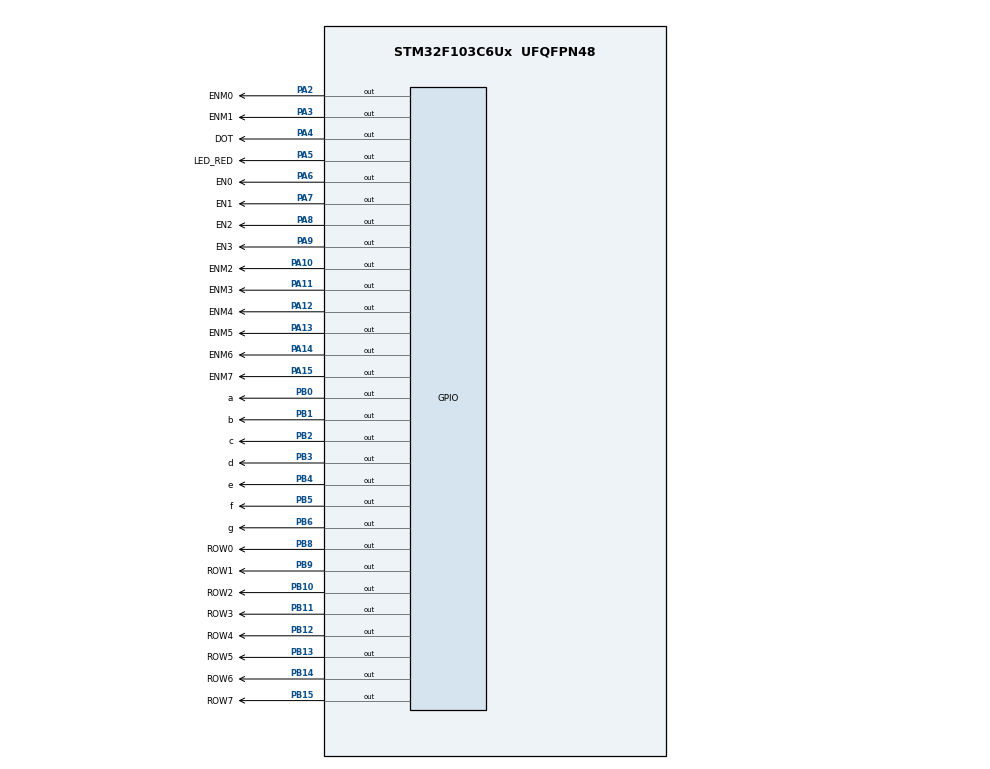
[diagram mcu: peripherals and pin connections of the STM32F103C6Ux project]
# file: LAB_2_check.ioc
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Mcu.Family=STM32F1
Mcu.Name=STM32F103C6Ux
Mcu.Package=UFQFPN48
NVIC.PriorityGroup=NVIC_PRIORITYGROUP_4
NVIC.TIM2_IRQn=true\:0\:0\:false\:false\:true\:true\:true
PA10.GPIO_Label=ENM2
PA10.Signal=GPIO_Output
PA11.GPIO_Label=ENM3
PA11.Signal=GPIO_Output
PA12.GPIO_Label=ENM4
PA12.Signal=GPIO_Output
PA13.GPIO_Label=ENM5
PA13.Signal=GPIO_Output
PA14.GPIO_Label=ENM6
PA14.Signal=GPIO_Output
PA15.GPIO_Label=ENM7
PA15.Signal=GPIO_Output
PA2.GPIO_Label=ENM0
PA2.Signal=GPIO_Output
PA3.GPIO_Label=ENM1
PA3.Signal=GPIO_Output
PA4.GPIO_Label=DOT
PA4.Signal=GPIO_Output
PA5.GPIO_Label=LED_RED
PA5.Signal=GPIO_Output
PA6.GPIO_Label=EN0
PA6.Signal=GPIO_Output
PA7.GPIO_Label=EN1
PA7.Signal=GPIO_Output
PA8.GPIO_Label=EN2
PA8.Signal=GPIO_Output
PA9.GPIO_Label=EN3
PA9.Signal=GPIO_Output
PB0.GPIO_Label=a
PB0.Signal=GPIO_Output
PB1.GPIO_Label=b
PB1.Signal=GPIO_Output
PB10.GPIO_Label=ROW2
PB10.Signal=GPIO_Output
PB11.GPIO_Label=ROW3
PB11.Signal=GPIO_Output
PB12.GPIO_Label=ROW4
PB12.Signal=GPIO_Output
PB13.GPIO_Label=ROW5
PB13.Signal=GPIO_Output
PB14.GPIO_Label=ROW6
PB14.Signal=GPIO_Output
PB15.GPIO_Label=ROW7
PB15.Signal=GPIO_Output
PB2.GPIO_Label=c
PB2.Signal=GPIO_Output
PB3.GPIO_Label=d
PB3.Signal=GPIO_Output
PB4.GPIO_Label=e
PB4.Signal=GPIO_Output
PB5.GPIO_Label=f
PB5.Signal=GPIO_Output
PB6.GPIO_Label=g
PB6.Signal=GPIO_Output
PB8.GPIO_Label=ROW0
PB8.Signal=GPIO_Output
PB9.GPIO_Label=ROW1
PB9.Signal=GPIO_Output
ProjectManager.HeapSize=0x200
ProjectManager.StackSize=0x400
ProjectManager.TargetToolchain=STM32CubeIDE
RCC.APB1Freq_Value=8000000
RCC.APB2Freq_Value=8000000
TIM2.Period=9
TIM2.Prescaler=7999
VP_SYS_VS_ND.Mode=No_Debug
VP_TIM2_VS_ClockSourceINT.Mode=Internal
board=custom

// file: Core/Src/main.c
/* USER CODE BEGIN Header */
/**
  ******************************************************************************
  * @file           : main.c
  * @brief          : Main program body
  ******************************************************************************
  * @attention
  *
  * <h2><center>&copy; Copyright (c) 2023 STMicroelectronics.
  * All rights reserved.</center></h2>
  *
  * This software component is licensed by ST under BSD 3-Clause license,
  * the "License"; You may not use this file except in compliance with the
  * License. You may obtain a copy of the License at:
  *                        opensource.org/licenses/BSD-3-Clause
  *
  ******************************************************************************
  */
/* USER CODE END Header */
#include "main.h"
#include "software_timer.h"

TIM_HandleTypeDef htim2;

void SystemClock_Config(void);
static void MX_GPIO_Init(void);
static void MX_TIM2_Init(void);

/* USER CODE BEGIN 0 */
void display7SEG(int num){

if(num == 0){

     	HAL_GPIO_WritePin(GPIOB, g_Pin, SET);
     	HAL_GPIO_WritePin(GPIOB,a_Pin | b_Pin| c_Pin |d_Pin | e_Pin | f_Pin,RESET);
}
else if (num == 1){
     	HAL_GPIO_WritePin(GPIOB, g_Pin| a_Pin |d_Pin|e_Pin|f_Pin , SET);
     	HAL_GPIO_WritePin(GPIOB,  b_Pin| c_Pin, RESET);
}
else if (num == 2){

     	HAL_GPIO_WritePin(GPIOB, c_Pin | f_Pin, SET);
     	HAL_GPIO_WritePin(GPIOB, a_Pin | b_Pin|d_Pin | e_Pin | g_Pin, RESET);
}
else if (num == 3){

     	HAL_GPIO_WritePin(GPIOB, e_Pin | f_Pin, SET);
     	HAL_GPIO_WritePin(GPIOB, a_Pin | b_Pin| c_Pin |d_Pin | g_Pin, RESET);
}
else if (num == 4){

     	HAL_GPIO_WritePin(GPIOB, a_Pin | d_Pin| e_Pin, SET);
     	HAL_GPIO_WritePin(GPIOB,  b_Pin| c_Pin | f_Pin|g_Pin, RESET);
}
else if (num == 5){

     	HAL_GPIO_WritePin(GPIOB, b_Pin | e_Pin, SET);
     	HAL_GPIO_WritePin(GPIOB, a_Pin |  c_Pin |d_Pin | f_Pin|g_Pin, RESET);
}
else if (num == 6){

     	HAL_GPIO_WritePin(GPIOB, b_Pin, SET);
     	HAL_GPIO_WritePin(GPIOB, a_Pin |  c_Pin |d_Pin | e_Pin | f_Pin|g_Pin, RESET);
}
else if (num == 7){
	HAL_GPIO_WritePin(GPIOB, g_Pin |d_Pin | e_Pin | f_Pin, SET);
	HAL_GPIO_WritePin(GPIOB, a_Pin | b_Pin| c_Pin , RESET);
}
else if (num == 8){
	HAL_GPIO_WritePin(GPIOB, a_Pin | b_Pin| c_Pin |d_Pin | e_Pin | f_Pin|g_Pin, RESET);
}
else {
     	HAL_GPIO_WritePin(GPIOB, e_Pin, SET);
     	HAL_GPIO_WritePin(GPIOB, a_Pin | b_Pin| c_Pin |d_Pin |  f_Pin|g_Pin, RESET);
}
}
const int MAX_LED = 4;
 int index_led = 0;
 int led_buffer [4] = {1 , 2 , 3 , 4};
void update7SEG (int index) {
 switch (index) {
 case 0:
 		  HAL_GPIO_WritePin(GPIOA, EN0_Pin, RESET);
 		  HAL_GPIO_WritePin(GPIOA, EN1_Pin, SET);
 		  HAL_GPIO_WritePin(GPIOA, EN2_Pin, SET);
 		  HAL_GPIO_WritePin(GPIOA, EN3_Pin, SET);
 		  display7SEG(led_buffer[0]);

 		  break;

 	  case 1:
 	  		  HAL_GPIO_WritePin(GPIOA, EN0_Pin, SET);
 	  		  HAL_GPIO_WritePin(GPIOA, EN1_Pin, RESET);
 			  HAL_GPIO_WritePin(GPIOA, EN2_Pin, SET);
 			  HAL_GPIO_WritePin(GPIOA, EN3_Pin, SET);
 	  		  display7SEG(led_buffer[1]);

 	  		  break;

 	  case 2:
 	  		  HAL_GPIO_WritePin(GPIOA, EN0_Pin, SET);
 	  		  HAL_GPIO_WritePin(GPIOA, EN1_Pin, SET);
 			  HAL_GPIO_WritePin(GPIOA, EN2_Pin, RESET);
 			  HAL_GPIO_WritePin(GPIOA, EN3_Pin, SET);
 	  		  display7SEG(led_buffer[2]);

 	  		  break;

 	  case 3:
 	  		  HAL_GPIO_WritePin(GPIOA, EN0_Pin, SET);
 	  		  HAL_GPIO_WritePin(GPIOA, EN1_Pin, SET);
 			  HAL_GPIO_WritePin(GPIOA, EN2_Pin, SET);
 			  HAL_GPIO_WritePin(GPIOA, EN3_Pin, RESET);
 	  		  display7SEG(led_buffer[3]);

 	  		  break;
 	  	  default:
 		  break;
 }
 }
int hour = 15 , minute = 8 , second = 50;
void updateClockBuffer(){
 	led_buffer[0] = hour/10;
 	led_buffer[1] = hour%10;
 	led_buffer[2] = minute/10;
 	led_buffer[3] = minute%10;
 }
const int MAX_LED_MATRIX = 8;
int index_led_matrix = 0;
uint8_t matrix_buffer[8]={0b0000000, 0b11111000, 0b00100100, 0b00100010, 0b00100010, 0b00100100, 0b11111000, 0b00000000};
void displayLEDMatrix(uint8_t value)
 {
 	if (value & (1U << 0))
 		HAL_GPIO_WritePin(ROW0_GPIO_Port, ROW0_Pin, RESET);
 	else
 		HAL_GPIO_WritePin(ROW0_GPIO_Port, ROW0_Pin, SET);

 	if (value & (1U << 1))
 		HAL_GPIO_WritePin(ROW1_GPIO_Port, ROW1_Pin, RESET);
 	else
 		HAL_GPIO_WritePin(ROW1_GPIO_Port, ROW1_Pin, SET);

 	if (value & (1U << 2))
 		HAL_GPIO_WritePin(ROW2_GPIO_Port, ROW2_Pin, RESET);
 	else
 		HAL_GPIO_WritePin(ROW2_GPIO_Port, ROW2_Pin,SET);

 	if (value & (1U << 3))
 		HAL_GPIO_WritePin(ROW3_GPIO_Port, ROW3_Pin, RESET);
 	else
 		HAL_GPIO_WritePin(ROW3_GPIO_Port, ROW3_Pin, SET);

 	if (value & (1U << 4))
 		HAL_GPIO_WritePin(ROW4_GPIO_Port, ROW4_Pin, RESET);
 	else
 		HAL_GPIO_WritePin(ROW4_GPIO_Port, ROW4_Pin, SET);

 	if (value & (1U << 5))
 		HAL_GPIO_WritePin(ROW5_GPIO_Port, ROW5_Pin, RESET);
 	else
 		HAL_GPIO_WritePin(ROW5_GPIO_Port, ROW5_Pin, SET);

 	if (value & (1U << 6))
 		HAL_GPIO_WritePin(ROW6_GPIO_Port, ROW6_Pin, RESET);
 	else
 		HAL_GPIO_WritePin(ROW6_GPIO_Port, ROW6_Pin, SET);

 	if (value & (1U << 7))
 		HAL_GPIO_WritePin(ROW7_GPIO_Port, ROW7_Pin, RESET);
 	else
 		HAL_GPIO_WritePin(ROW7_GPIO_Port, ROW7_Pin, SET);
 }

void updateLEDMatrix(int index)
{
	switch (index)
	{
		case 0:
			HAL_GPIO_WritePin(ENM7_GPIO_Port, ENM7_Pin, GPIO_PIN_SET);
			HAL_GPIO_WritePin(ENM6_GPIO_Port, ENM6_Pin, GPIO_PIN_SET);
			HAL_GPIO_WritePin(ENM5_GPIO_Port, ENM5_Pin, GPIO_PIN_SET);
			HAL_GPIO_WritePin(ENM4_GPIO_Port, ENM4_Pin, GPIO_PIN_SET);
			HAL_GPIO_WritePin(ENM3_GPIO_Port, ENM3_Pin, GPIO_PIN_SET);
			HAL_GPIO_WritePin(ENM2_GPIO_Port, ENM2_Pin, GPIO_PIN_SET);
			HAL_GPIO_WritePin(ENM1_GPIO_Port, ENM1_Pin, GPIO_PIN_SET);
			HAL_GPIO_WritePin(ENM0_GPIO_Port, ENM0_Pin, GPIO_PIN_RESET);
			displayLEDMatrix(matrix_buffer[index]);
			break;
		case 1:
			HAL_GPIO_WritePin(ENM0_GPIO_Port, ENM0_Pin, GPIO_PIN_SET);
			HAL_GPIO_WritePin(ENM7_GPIO_Port, ENM7_Pin, GPIO_PIN_SET);
			HAL_GPIO_WritePin(ENM6_GPIO_Port, ENM6_Pin, GPIO_PIN_SET);
			HAL_GPIO_WritePin(ENM5_GPIO_Port, ENM5_Pin, GPIO_PIN_SET);
			HAL_GPIO_WritePin(ENM4_GPIO_Port, ENM4_Pin, GPIO_PIN_SET);
			HAL_GPIO_WritePin(ENM3_GPIO_Port, ENM3_Pin, GPIO_PIN_SET);
			HAL_GPIO_WritePin(ENM2_GPIO_Port, ENM2_Pin, GPIO_PIN_SET);
			HAL_GPIO_WritePin(ENM1_GPIO_Port, ENM1_Pin, GPIO_PIN_RESET);
			displayLEDMatrix(matrix_buffer[index]);
			break;
		case 2:
			HAL_GPIO_WritePin(ENM1_GPIO_Port, ENM1_Pin, GPIO_PIN_SET);
			HAL_GPIO_WritePin(ENM0_GPIO_Port, ENM0_Pin, GPIO_PIN_SET);
			HAL_GPIO_WritePin(ENM7_GPIO_Port, ENM7_Pin, GPIO_PIN_SET);
			HAL_GPIO_WritePin(ENM6_GPIO_Port, ENM6_Pin, GPIO_PIN_SET);
			HAL_GPIO_WritePin(ENM5_GPIO_Port, ENM5_Pin, GPIO_PIN_SET);
			HAL_GPIO_WritePin(ENM4_GPIO_Port, ENM4_Pin, GPIO_PIN_SET);
			HAL_GPIO_WritePin(ENM3_GPIO_Port, ENM3_Pin, GPIO_PIN_SET);
			HAL_GPIO_WritePin(ENM2_GPIO_Port, ENM2_Pin, GPIO_PIN_RESET);
			displayLEDMatrix(matrix_buffer[index]);
			break;
		case 3:
			HAL_GPIO_WritePin(ENM2_GPIO_Port, ENM2_Pin, GPIO_PIN_SET);
			HAL_GPIO_WritePin(ENM1_GPIO_Port, ENM1_Pin, GPIO_PIN_SET);
			HAL_GPIO_WritePin(ENM0_GPIO_Port, ENM0_Pin, GPIO_PIN_SET);
			HAL_GPIO_WritePin(ENM7_GPIO_Port, ENM7_Pin, GPIO_PIN_SET);
			HAL_GPIO_WritePin(ENM6_GPIO_Port, ENM6_Pin, GPIO_PIN_SET);
			HAL_GPIO_WritePin(ENM5_GPIO_Port, ENM5_Pin, GPIO_PIN_SET);
			HAL_GPIO_WritePin(ENM4_GPIO_Port, ENM4_Pin, GPIO_PIN_SET);
			HAL_GPIO_WritePin(ENM3_GPIO_Port, ENM3_Pin, GPIO_PIN_RESET);
			displayLEDMatrix(matrix_buffer[index]);
			break;
		case 4:
			HAL_GPIO_WritePin(ENM3_GPIO_Port, ENM3_Pin, GPIO_PIN_SET);
			HAL_GPIO_WritePin(ENM2_GPIO_Port, ENM2_Pin, GPIO_PIN_SET);
			HAL_GPIO_WritePin(ENM1_GPIO_Port, ENM1_Pin, GPIO_PIN_SET);
			HAL_GPIO_WritePin(ENM0_GPIO_Port, ENM0_Pin, GPIO_PIN_SET);
			HAL_GPIO_WritePin(ENM7_GPIO_Port, ENM7_Pin, GPIO_PIN_SET);
			HAL_GPIO_WritePin(ENM6_GPIO_Port, ENM6_Pin, GPIO_PIN_SET);
			HAL_GPIO_WritePin(ENM5_GPIO_Port, ENM5_Pin, GPIO_PIN_SET);
			HAL_GPIO_WritePin(ENM4_GPIO_Port, ENM4_Pin, GPIO_PIN_RESET);
			displayLEDMatrix(matrix_buffer[index]);
			break;
		case 5:
			HAL_GPIO_WritePin(ENM4_GPIO_Port, ENM4_Pin, GPIO_PIN_SET);
			HAL_GPIO_WritePin(ENM3_GPIO_Port, ENM3_Pin, GPIO_PIN_SET);
			HAL_GPIO_WritePin(ENM2_GPIO_Port, ENM2_Pin, GPIO_PIN_SET);
			HAL_GPIO_WritePin(ENM1_GPIO_Port, ENM1_Pin, GPIO_PIN_SET);
			HAL_GPIO_WritePin(ENM0_GPIO_Port, ENM0_Pin, GPIO_PIN_SET);
			HAL_GPIO_WritePin(ENM7_GPIO_Port, ENM7_Pin, GPIO_PIN_SET);
			HAL_GPIO_WritePin(ENM6_GPIO_Port, ENM6_Pin, GPIO_PIN_SET);
			HAL_GPIO_WritePin(ENM5_GPIO_Port, ENM5_Pin, GPIO_PIN_RESET);
			displayLEDMatrix(matrix_buffer[index]);
			break;
		case 6:
			HAL_GPIO_WritePin(ENM5_GPIO_Port, ENM5_Pin, GPIO_PIN_SET);
			HAL_GPIO_WritePin(ENM4_GPIO_Port, ENM4_Pin, GPIO_PIN_SET);
			HAL_GPIO_WritePin(ENM3_GPIO_Port, ENM3_Pin, GPIO_PIN_SET);
			HAL_GPIO_WritePin(ENM2_GPIO_Port, ENM2_Pin, GPIO_PIN_SET);
			HAL_GPIO_WritePin(ENM1_GPIO_Port, ENM1_Pin, GPIO_PIN_SET);
			HAL_GPIO_WritePin(ENM0_GPIO_Port, ENM0_Pin, GPIO_PIN_SET);
			HAL_GPIO_WritePin(ENM7_GPIO_Port, ENM7_Pin, GPIO_PIN_SET);
			HAL_GPIO_WritePin(ENM6_GPIO_Port, ENM6_Pin, GPIO_PIN_RESET);
			displayLEDMatrix(matrix_buffer[index]);
			break;
		case 7:
			HAL_GPIO_WritePin(ENM6_GPIO_Port, ENM6_Pin, GPIO_PIN_SET);
			HAL_GPIO_WritePin(ENM5_GPIO_Port, ENM5_Pin, GPIO_PIN_SET);
			HAL_GPIO_WritePin(ENM4_GPIO_Port, ENM4_Pin, GPIO_PIN_SET);
			HAL_GPIO_WritePin(ENM3_GPIO_Port, ENM3_Pin, GPIO_PIN_SET);
			HAL_GPIO_WritePin(ENM2_GPIO_Port, ENM2_Pin, GPIO_PIN_SET);
			HAL_GPIO_WritePin(ENM1_GPIO_Port, ENM1_Pin, GPIO_PIN_SET);
			HAL_GPIO_WritePin(ENM0_GPIO_Port, ENM0_Pin, GPIO_PIN_SET);
			HAL_GPIO_WritePin(ENM7_GPIO_Port, ENM7_Pin, GPIO_PIN_RESET);
			displayLEDMatrix(matrix_buffer[index]);
			break;
		default:
			break;
	}
}

void updateLEDMatrixBuffer(){
	uint8_t temp = matrix_buffer[0];
	matrix_buffer[0] = matrix_buffer[1];
	matrix_buffer[1] = matrix_buffer[2];
	matrix_buffer[2] = matrix_buffer[3];
	matrix_buffer[3] = matrix_buffer[4];
	matrix_buffer[4] = matrix_buffer[5];
	matrix_buffer[5] = matrix_buffer[6];
	matrix_buffer[6] = matrix_buffer[7];
	matrix_buffer[7] = temp;
}
/* USER CODE END 0 */

int main(void)
{

  /* MCU Configuration--------------------------------------------------------*/

  /* Reset of all peripherals, Initializes the Flash interface and the Systick. */
  HAL_Init();

  /* Configure the system clock */
  SystemClock_Config();

  /* Initialize all configured peripherals */
  MX_GPIO_Init();
  MX_TIM2_Init();
  /* USER CODE BEGIN 2 */
HAL_TIM_Base_Start_IT(&htim2);
  /* USER CODE END 2 */

  /* Infinite loop */
  /* USER CODE BEGIN WHILE */

setTimer1(1);
setTimer2(10);

  int index_led_matrix = 0;

 while (1)
 {

	  if(timer1_flag == 1){

		  if(index_led_matrix >= MAX_LED_MATRIX)
			  index_led_matrix = 0;
		  	 updateLEDMatrix(index_led_matrix++);

		  setTimer1(1);
	  }
	  if(timer2_flag==1){
		  updateLEDMatrixBuffer();
		  setTimer2(10);
	  }

   /* USER CODE END WHILE */

 }
}

void SystemClock_Config(void)
{
  RCC_OscInitTypeDef RCC_OscInitStruct = {0};
  RCC_ClkInitTypeDef RCC_ClkInitStruct = {0};

  /** Initializes the RCC Oscillators according to the specified parameters
  * in the RCC_OscInitTypeDef structure.
  */
  RCC_OscInitStruct.OscillatorType = RCC_OSCILLATORTYPE_HSI;
  RCC_OscInitStruct.HSIState = RCC_HSI_ON;
  RCC_OscInitStruct.HSICalibrationValue = RCC_HSICALIBRATION_DEFAULT;
  RCC_OscInitStruct.PLL.PLLState = RCC_PLL_NONE;
  if (HAL_RCC_OscConfig(&RCC_OscInitStruct) != HAL_OK)
  {
    Error_Handler();
  }
  /** Initializes the CPU, AHB and APB buses clocks
  */
  RCC_ClkInitStruct.ClockType = RCC_CLOCKTYPE_HCLK|RCC_CLOCKTYPE_SYSCLK
                              |RCC_CLOCKTYPE_PCLK1|RCC_CLOCKTYPE_PCLK2;
  RCC_ClkInitStruct.SYSCLKSource = RCC_SYSCLKSOURCE_HSI;
  RCC_ClkInitStruct.AHBCLKDivider = RCC_SYSCLK_DIV1;
  RCC_ClkInitStruct.APB1CLKDivider = RCC_HCLK_DIV1;
  RCC_ClkInitStruct.APB2CLKDivider = RCC_HCLK_DIV1;

  if (HAL_RCC_ClockConfig(&RCC_ClkInitStruct, FLASH_LATENCY_0) != HAL_OK)
  {
    Error_Handler();
  }
}

static void MX_TIM2_Init(void)
{

  TIM_ClockConfigTypeDef sClockSourceConfig = {0};
  TIM_MasterConfigTypeDef sMasterConfig = {0};

  htim2.Instance = TIM2;
  htim2.Init.Prescaler = 7999;
  htim2.Init.CounterMode = TIM_COUNTERMODE_UP;
  htim2.Init.Period = 9;
  htim2.Init.ClockDivision = TIM_CLOCKDIVISION_DIV1;
  htim2.Init.AutoReloadPreload = TIM_AUTORELOAD_PRELOAD_DISABLE;
  if (HAL_TIM_Base_Init(&htim2) != HAL_OK)
  {
    Error_Handler();
  }
  sClockSourceConfig.ClockSource = TIM_CLOCKSOURCE_INTERNAL;
  if (HAL_TIM_ConfigClockSource(&htim2, &sClockSourceConfig) != HAL_OK)
  {
    Error_Handler();
  }
  sMasterConfig.MasterOutputTrigger = TIM_TRGO_RESET;
  sMasterConfig.MasterSlaveMode = TIM_MASTERSLAVEMODE_DISABLE;
  if (HAL_TIMEx_MasterConfigSynchronization(&htim2, &sMasterConfig) != HAL_OK)
  {
    Error_Handler();
  }

}

static void MX_GPIO_Init(void)
{
  GPIO_InitTypeDef GPIO_InitStruct = {0};

  /* GPIO Ports Clock Enable */
  __HAL_RCC_GPIOA_CLK_ENABLE();
  __HAL_RCC_GPIOB_CLK_ENABLE();

  /*Configure GPIO pin Output Level */
  HAL_GPIO_WritePin(GPIOA, ENM0_Pin|ENM1_Pin|DOT_Pin|LED_RED_Pin
                          |EN0_Pin|EN1_Pin|EN2_Pin|EN3_Pin
                          |ENM2_Pin|ENM3_Pin|ENM4_Pin|ENM5_Pin
                          |ENM6_Pin|ENM7_Pin, GPIO_PIN_RESET);

  /*Configure GPIO pin Output Level */
  HAL_GPIO_WritePin(GPIOB, a_Pin|b_Pin|c_Pin|ROW2_Pin
                          |ROW3_Pin|ROW4_Pin|ROW5_Pin|ROW6_Pin
                          |ROW7_Pin|d_Pin|e_Pin|f_Pin
                          |g_Pin|ROW0_Pin|ROW1_Pin, GPIO_PIN_RESET);

  /*Configure GPIO pins : ENM0_Pin ENM1_Pin DOT_Pin LED_RED_Pin
                           EN0_Pin EN1_Pin EN2_Pin EN3_Pin
                           ENM2_Pin ENM3_Pin ENM4_Pin ENM5_Pin
                           ENM6_Pin ENM7_Pin */
  GPIO_InitStruct.Pin = ENM0_Pin|ENM1_Pin|DOT_Pin|LED_RED_Pin
                          |EN0_Pin|EN1_Pin|EN2_Pin|EN3_Pin
                          |ENM2_Pin|ENM3_Pin|ENM4_Pin|ENM5_Pin
                          |ENM6_Pin|ENM7_Pin;
  GPIO_InitStruct.Mode = GPIO_MODE_OUTPUT_PP;
  GPIO_InitStruct.Pull = GPIO_NOPULL;
  GPIO_InitStruct.Speed = GPIO_SPEED_FREQ_LOW;
  HAL_GPIO_Init(GPIOA, &GPIO_InitStruct);

  /*Configure GPIO pins : a_Pin b_Pin c_Pin ROW2_Pin
                           ROW3_Pin ROW4_Pin ROW5_Pin ROW6_Pin
                           ROW7_Pin d_Pin e_Pin f_Pin
                           g_Pin ROW0_Pin ROW1_Pin */
  GPIO_InitStruct.Pin = a_Pin|b_Pin|c_Pin|ROW2_Pin
                          |ROW3_Pin|ROW4_Pin|ROW5_Pin|ROW6_Pin
                          |ROW7_Pin|d_Pin|e_Pin|f_Pin
                          |g_Pin|ROW0_Pin|ROW1_Pin;
  GPIO_InitStruct.Mode = GPIO_MODE_OUTPUT_PP;
  GPIO_InitStruct.Pull = GPIO_NOPULL;
  GPIO_InitStruct.Speed = GPIO_SPEED_FREQ_LOW;
  HAL_GPIO_Init(GPIOB, &GPIO_InitStruct);

}

/* USER CODE BEGIN 4 */

void HAL_TIM_PeriodElapsedCallback(TIM_HandleTypeDef * htim )
{

timerRun1();
timerRun2();

}
/* USER CODE END 4 */

void Error_Handler(void)
{
  __disable_irq();
  while (1)
  {
  }
}

/************************ (C) COPYRIGHT STMicroelectronics *****END OF FILE****/
